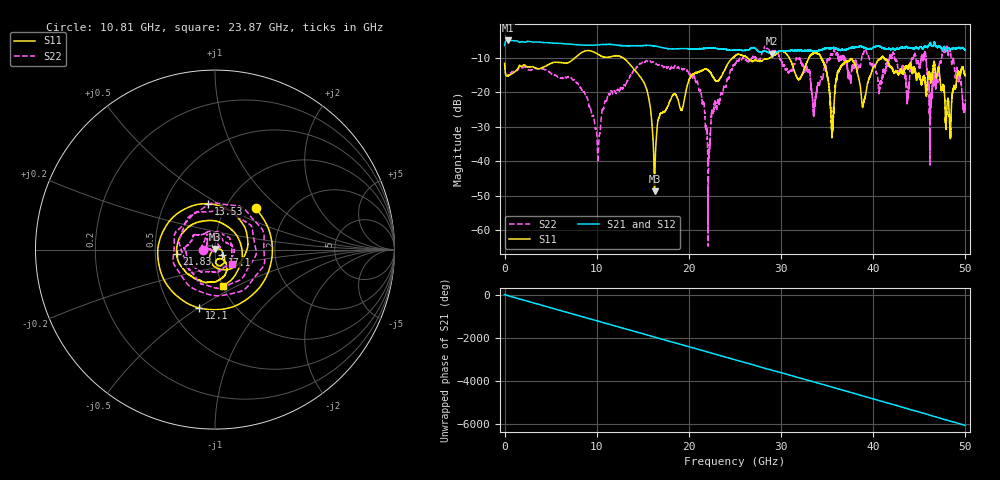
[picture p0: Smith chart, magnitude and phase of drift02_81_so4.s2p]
!Created with skrf (http://scikit-rf.org).
# Hz S RI R 50.0
!freq ReS11 ImS11 ReS21 ImS21 ReS12 ImS12 ReS22 ImS22
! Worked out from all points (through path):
!   10001 points, 300 kHz to 50 GHz, reference 50 ohm
!   highest |S21| = -5.04 dB at 325.3 MHz (marker M1); lowest = -8.9 dB at 28.98 GHz (marker M2)
!   group delay of S21, straight-line fit = 336 ps
!   lowest |S11| = -48.8 dB at 16.27 GHz (marker M3), VSWR 1.01, Z = 49.9 + j0.332 ohm
!   |S11| at or under -10 dB: start of sweep to 7.667 GHz; 12.82 GHz to 24.79 GHz (11.97 GHz wide, 63.6 % of centre); 41.13 GHz to end of sweep (the widest 3 of 9)
!   |S22| runs from -64.6 to -6.7 dB; largest |S21 - S12| = 0.028
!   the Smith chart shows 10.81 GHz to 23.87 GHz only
!   S11 on the Smith chart (normalised r, x): 10.81 GHz: 1.38, +0.70; 12.1 GHz: 0.69, -0.50; 13.53 GHz: 0.81, +0.45; 17.1 GHz: 1.08, -0.06; 21.83 GHz: 0.65, -0.03; 23.87 GHz: 1.01, -0.42
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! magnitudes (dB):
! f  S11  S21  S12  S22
! 300 kHz  -11.6  -6.5  -6.5  -11.7
! 325.3 MHz  -15.3  -5.0  -5.0  -15.1
! 8.335 GHz  -8.6  -6.4  -6.4  -19.1
! 10.11 GHz  -9.0  -6.3  -6.3  -39.1
! 10.81 GHz  -9.8  -6.2  -6.2  -23.6
! 12.1 GHz  -9.5  -6.4  -6.4  -20.4
! 13.53 GHz  -11.8  -6.6  -6.6  -16.0
! 16.27 GHz  -48.8  -6.6  -6.6  -11.7
! 16.67 GHz  -27.9  -6.8  -6.8  -12.1
! 17.1 GHz  -26.0  -7.1  -7.1  -12.3
! 21.83 GHz  -13.4  -7.3  -7.3  -30.2
! 23.87 GHz  -13.7  -7.6  -7.6  -18.2
! 25 GHz  -9.6  -7.8  -7.8  -12.0
! 28.98 GHz  -9.8  -8.9  -8.8  -8.0
! 33.34 GHz  -9.0  -8.0  -8.0  -20.2
! 35.55 GHz  -30.5  -7.2  -7.2  -9.2
! 36.8 GHz  -11.8  -7.8  -7.7  -10.4
! 41.67 GHz  -11.8  -7.4  -7.5  -12.2
! 45.49 GHz  -15.3  -7.1  -7.0  -9.7
! 46.25 GHz  -16.3  -6.1  -6.1  -23.8
! 48.13 GHz  -22.2  -7.1  -7.1  -8.9
! 50 GHz  -15.3  -7.8  -7.8  -22.7
